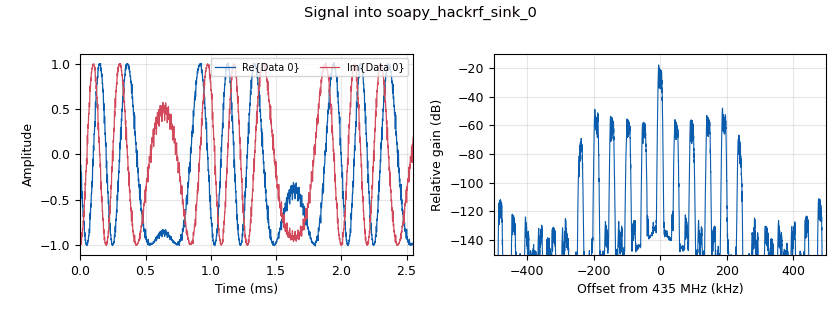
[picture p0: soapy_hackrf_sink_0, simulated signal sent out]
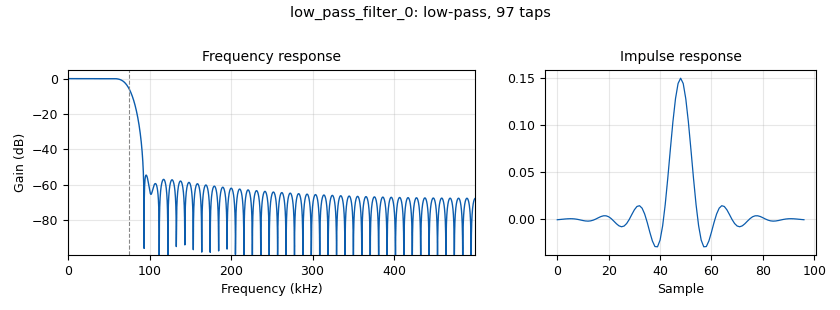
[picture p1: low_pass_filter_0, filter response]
options:
  parameters:
    generate_options: qt_gui
    id: FX_tx_rx
    output_language: python
    title: FM TX/RX
  states: {}

blocks:
- name: aud_rate
  id: variable
  parameters:
    value: 48e3
  states: {}
- name: freq
  id: variable
  parameters:
    value: '435000000'
  states: {}
- name: freq_offset
  id: variable
  parameters:
    value: 200e3
  states: {}
- name: samp_rate
  id: variable
  parameters:
    value: 1e6
  states: {}
- name: analog_sig_source_x_0
  id: analog_sig_source_x
  parameters:
    amp: '1'
    freq: '500'
    offset: '0'
    phase: '0'
    samp_rate: aud_rate
    type: float
    waveform: analog.GR_COS_WAVE
  states: {}
- name: analog_sig_source_x_1
  id: analog_sig_source_x
  parameters:
    amp: '1'
    freq: freq_offset
    offset: '0'
    phase: '0'
    samp_rate: samp_rate
    type: complex
    waveform: analog.GR_COS_WAVE
  states: {}
- name: analog_wfm_rcv_0
  id: analog_wfm_rcv
  parameters:
    audio_decimation: '10'
    quad_rate: 10*int(aud_rate)
  states: {}
- name: analog_wfm_tx_0
  id: analog_wfm_tx
  parameters:
    audio_rate: int(aud_rate)
    fh: '-1.0'
    max_dev: 5e3
    quad_rate: 10*int(aud_rate)
    tau: '75e-6'
  states: {}
- name: blocks_multiply_xx_0
  id: blocks_multiply_xx
  parameters:
    type: complex
  states: {}
- name: low_pass_filter_0
  id: low_pass_filter
  parameters:
    cutoff_freq: 75e3
    decim: '1'
    gain: '1'
    samp_rate: samp_rate
    type: fir_filter_ccf
    width: 25e3
    win: window.WIN_HAMMING
  states: {}
- name: qtgui_time_sink_x_1
  id: qtgui_time_sink_x
  parameters:
    ctrlpanel: 'True'
    size: '1024'
    srate: aud_rate
    type: float
  states: {}
- name: rational_resampler_xxx_0
  id: rational_resampler_xxx
  parameters:
    decim: '12'
    interp: '25'
    type: ccc
  states: {}
- name: rational_resampler_xxx_1
  id: rational_resampler_xxx
  parameters:
    decim: '25'
    interp: '12'
    type: ccc
  states: {}
- name: soapy_hackrf_sink_0
  id: soapy_hackrf_sink
  parameters:
    center_freq: freq
    dev_args: '"driver=hackrf,serial=29e5f"'
    samp_rate: samp_rate
    type: fc32
  states: {}
- name: soapy_hackrf_source_0
  id: soapy_hackrf_source
  parameters:
    center_freq: freq + freq_offset
    dev_args: '"driver=hackrf,serial=f915f"'
    samp_rate: samp_rate
    type: fc32
  states: {}

connections:
- [analog_sig_source_x_0, '0', analog_wfm_tx_0, '0']
- [analog_sig_source_x_1, '0', blocks_multiply_xx_0, '1']
- [analog_wfm_rcv_0, '0', qtgui_time_sink_x_1, '0']
- [analog_wfm_tx_0, '0', rational_resampler_xxx_0, '0']
- [blocks_multiply_xx_0, '0', low_pass_filter_0, '0']
- [low_pass_filter_0, '0', rational_resampler_xxx_1, '0']
- [rational_resampler_xxx_0, '0', soapy_hackrf_sink_0, '0']
- [rational_resampler_xxx_1, '0', analog_wfm_rcv_0, '0']
- [soapy_hackrf_source_0, '0', blocks_multiply_xx_0, '0']

metadata:
  file_format: 1
  grc_version: 3.10.5.1
